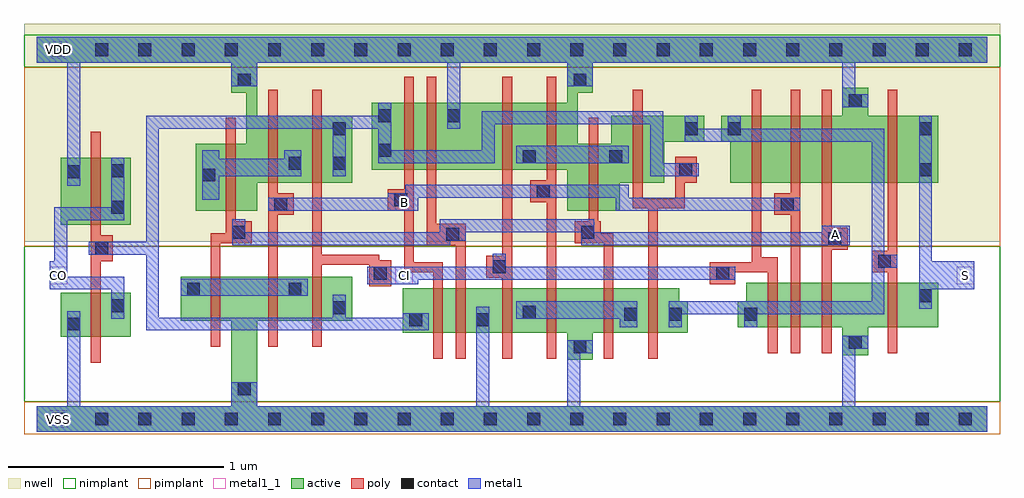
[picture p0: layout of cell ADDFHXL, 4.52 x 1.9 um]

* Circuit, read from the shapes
.subckt ADDFHXL A B CI CO S VDD VSS
M1 CO n1 VSS VSS nfet w=0.205u l=0.045u
M2 VSS A n2 VSS nfet w=0.205u l=0.045u
M3 n2 B VSS VSS nfet w=0.205u l=0.045u
M4 n1 CI n2 VSS nfet w=0.205u l=0.045u
M5 n3 B n1 VSS nfet w=0.205u l=0.045u
M6 VSS A n3 VSS nfet w=0.205u l=0.045u
M7 n4 CI VSS VSS nfet w=0.205u l=0.045u
M8 VSS B n4 VSS nfet w=0.205u l=0.045u
M9 n4 A VSS VSS nfet w=0.205u l=0.045u
M10 n5 n1 n4 VSS nfet w=0.205u l=0.045u
M11 n6 CI n5 VSS nfet w=0.205u l=0.045u
M12 n7 B n6 VSS nfet w=0.205u l=0.045u
M13 VSS A n7 VSS nfet w=0.205u l=0.045u
M14 S n5 VSS VSS nfet w=0.205u l=0.045u
M15 CO n1 VDD VDD pfet w=0.31u l=0.045u
M16 VDD A n8 VDD pfet w=0.31u l=0.045u
M17 n8 B VDD VDD pfet w=0.31u l=0.045u
M18 n1 CI n8 VDD pfet w=0.31u l=0.045u
M19 n9 B n1 VDD pfet w=0.31u l=0.045u
M20 VDD A n9 VDD pfet w=0.31u l=0.045u
M21 n10 CI VDD VDD pfet w=0.31u l=0.045u
M22 VDD B n10 VDD pfet w=0.31u l=0.045u
M23 n10 A VDD VDD pfet w=0.31u l=0.045u
M24 n5 n1 n10 VDD pfet w=0.31u l=0.045u
M25 n11 CI n5 VDD pfet w=0.31u l=0.045u
M26 n12 B n11 VDD pfet w=0.31u l=0.045u
M27 VDD A n12 VDD pfet w=0.31u l=0.045u
M28 S n5 VDD VDD pfet w=0.31u l=0.045u
.ends

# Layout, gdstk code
import gdstk
lib = gdstk.Library(unit=1e-6, precision=5e-10)
def R(c, l, rs):  # rectangles x0, y0, x1, y1
    for r in rs: c.add(gdstk.rectangle(r[:2], r[2:], *l))
def A(c, l, x, y, w, h, nx, ny, dx, dy):  # array of equal rectangles
    R(c, l, [(x+i*dx, y+j*dy, x+i*dx+w, y+j*dy+h) for i in range(nx) for j in range(ny)])
def P(c, l, *ps):  # polygons
    for p in ps: c.add(gdstk.Polygon(p, *l))
active = (1, 0)
nwell = (2, 0)
poly = (3, 0)
nimplant = (4, 0)
pimplant = (5, 0)
contact = (6, 0)
metal1 = (7, 0)
metal1_1 = (7, 1)

addfhxl = lib.new_cell('ADDFHXL')
R(addfhxl, active, [(0.11,0.38,0.435,0.585), (0.11,0.9,0.435,1.21)])
P(addfhxl, active, [(0,1.77),(4.4,1.77),(4.4,1.65),(2.575,1.65),(2.575,1.51),(2.505,1.51),(2.505,1.275),(2.66,1.275),(2.66,1.405),(3.09,1.405),(3.09,1.285),(2.905,1.285),(2.905,1.095),(2.7,1.095),(2.7,0.965),(2.455,0.965),(2.455,1.155),(1.55,1.155),(1.55,1.465),(2.455,1.465),(2.455,1.65),(1.02,1.65),(1.02,1.405),(1.46,1.405),(1.46,1.095),(1.02,1.095),(1.02,0.965),(0.735,0.965),(0.735,1.275),(0.97,1.275),(0.97,1.51),(0.9,1.51),(0.9,1.65),(0,1.65)],
  [(3.73,1.535),(3.85,1.535),(3.85,1.405),(4.175,1.405),(4.175,1.095),(3.21,1.095),(3.21,1.285),(3.17,1.285),(3.17,1.405),(3.73,1.405)],
  [(0.665,0.66),(1.46,0.66),(1.46,0.455),(1.02,0.455),(1.02,0.06),(4.4,0.06),(4.4,-0.06),(0,-0.06),(0,0.06),(0.9,0.06),(0.9,0.455),(0.665,0.455)],
  [(1.695,0.605),(2.975,0.605),(2.975,0.545),(3.015,0.545),(3.015,0.4),(2.575,0.4),(2.575,0.275),(2.455,0.275),(2.455,0.4),(1.695,0.4)],
  [(3.285,0.63),(4.175,0.63),(4.175,0.425),(3.85,0.425),(3.85,0.295),(3.73,0.295),(3.73,0.425),(3.245,0.425),(3.245,0.545),(3.285,0.545)])
R(addfhxl, nwell, [(-0.06,0.82,4.46,1.83)])
P(addfhxl, poly, [(0.25,1.33),(0.295,1.33),(0.295,0.85),(0.35,0.85),(0.35,0.73),(0.295,0.73),(0.295,0.26),(0.25,0.26)],
  [(1.7,1.585),(1.745,1.585),(1.745,0.725),(1.88,0.725),(1.88,0.28),(1.835,0.28),(1.835,0.68),(1.7,0.68),(1.7,0.965),(1.625,0.965),(1.625,1.065),(1.7,1.065)],
  [(1.805,1.585),(1.85,1.585),(1.85,0.905),(1.985,0.905),(1.985,0.28),(1.94,0.28),(1.94,0.805),(1.805,0.805)],
  [(0.875,1.395),(0.92,1.395),(0.92,0.915),(0.995,0.915),(0.995,0.815),(0.85,0.815),(0.85,0.335),(0.805,0.335),(0.805,0.86),(0.875,0.86)],
  [(1.07,1.525),(1.115,1.525),(1.115,1.045),(1.19,1.045),(1.19,0.945),(1.115,0.945),(1.115,0.335),(1.07,0.335)],
  [(1.275,1.525),(1.32,1.525),(1.32,0.76),(1.585,0.76),(1.585,0.735),(1.64,0.735),(1.64,0.615),(1.54,0.615),(1.54,0.715),(1.32,0.715),(1.32,0.335),(1.275,0.335)],
  [(2.155,1.585),(2.2,1.585),(2.2,0.28),(2.155,0.28),(2.155,0.655),(2.08,0.655),(2.08,0.755),(2.155,0.755)],
  [(2.36,1.585),(2.405,1.585),(2.405,0.28),(2.36,0.28),(2.36,1.005),(2.285,1.005),(2.285,1.105),(2.36,1.105)],
  [(2.76,1.525),(2.805,1.525),(2.805,1.02),(2.955,1.02),(2.955,1.215),(3.055,1.215),(3.055,1.095),(3,1.095),(3,0.975),(2.875,0.975),(2.875,0.28),(2.83,0.28),(2.83,0.975),(2.76,0.975)],
  [(3.31,1.525),(3.355,1.525),(3.355,0.75),(3.43,0.75),(3.43,0.305),(3.385,0.305),(3.385,0.68),(3.235,0.68),(3.235,0.625),(3.115,0.625),(3.115,0.725),(3.31,0.725)],
  [(3.49,1.525),(3.535,1.525),(3.535,0.305),(3.49,0.305),(3.49,0.945),(3.415,0.945),(3.415,1.045),(3.49,1.045)],
  [(3.635,1.525),(3.68,1.525),(3.68,0.885),(3.755,0.885),(3.755,0.785),(3.68,0.785),(3.68,0.305),(3.635,0.305)],
  [(3.94,1.525),(3.985,1.525),(3.985,0.305),(3.94,0.305),(3.94,0.68),(3.865,0.68),(3.865,0.78),(3.94,0.78)],
  [(2.555,1.395),(2.6,1.395),(2.6,0.915),(2.61,0.915),(2.61,0.86),(2.67,0.86),(2.67,0.28),(2.625,0.28),(2.625,0.815),(2.49,0.815),(2.49,0.915),(2.555,0.915)])
R(addfhxl, nimplant, [(-0.06,0.08,4.46,0.8), (-0.06,1.63,4.46,1.78)])
R(addfhxl, pimplant, [(-0.06,-0.07,4.46,0.08), (-0.06,0.8,4.46,1.63)])
A(addfhxl, contact, 0.07, -0.03, 0.06, 0.06, 22, 2, 0.2, 1.71)
R(addfhxl, contact, [(0.93,0.11,0.99,0.17), (2.485,0.305,2.545,0.365), (3.76,0.325,3.82,0.385), (0.14,0.41,0.2,0.47), (1.725,0.43,1.785,0.49), (2.035,0.43,2.095,0.49), (2.72,0.455,2.78,0.515), (2.925,0.455,2.985,0.515), (3.275,0.455,3.335,0.515), (2.25,0.465,2.31,0.525), (1.37,0.485,1.43,0.545), (0.345,0.495,0.405,0.555), (4.085,0.54,4.145,0.6), (0.695,0.57,0.755,0.63), (1.165,0.57,1.225,0.63), (1.56,0.645,1.62,0.705), (3.145,0.645,3.205,0.705), (2.11,0.675,2.17,0.735), (3.895,0.7,3.955,0.76), (0.27,0.76,0.33,0.82), (3.665,0.805,3.725,0.865), (1.895,0.825,1.955,0.885), (0.905,0.835,0.965,0.895), (2.52,0.835,2.58,0.895), (0.345,0.95,0.405,1.01), (1.1,0.965,1.16,1.025), (3.445,0.965,3.505,1.025), (1.655,0.985,1.715,1.045), (2.315,1.025,2.375,1.085), (0.765,1.1,0.825,1.16), (0.14,1.115,0.2,1.175), (0.345,1.12,0.405,1.18), (2.975,1.125,3.035,1.185), (4.085,1.125,4.145,1.185), (1.165,1.155,1.225,1.215), (1.37,1.155,1.43,1.215), (2.25,1.185,2.31,1.245), (2.65,1.185,2.71,1.245), (1.58,1.215,1.64,1.275), (1.37,1.315,1.43,1.375), (3,1.315,3.06,1.375), (3.2,1.315,3.26,1.375), (4.085,1.315,4.145,1.375), (1.58,1.375,1.64,1.435), (1.9,1.375,1.96,1.435), (3.76,1.445,3.82,1.505), (0.93,1.54,0.99,1.6), (2.485,1.54,2.545,1.6)])
R(addfhxl, metal1, [(0.665,0.57,1.255,0.65), (2.22,1.185,2.74,1.265)])
P(addfhxl, metal1, [(0,1.77),(4.4,1.77),(4.4,1.65),(3.79,1.65),(3.79,1.505),(3.85,1.505),(3.85,1.445),(3.73,1.445),(3.73,1.65),(2.575,1.65),(2.575,1.54),(2.455,1.54),(2.455,1.65),(1.96,1.65),(1.96,1.345),(1.9,1.345),(1.9,1.65),(1.02,1.65),(1.02,1.54),(0.9,1.54),(0.9,1.65),(0.2,1.65),(0.2,1.08),(0.14,1.08),(0.14,1.65),(0,1.65)],
  [(1.58,1.465),(1.64,1.465),(1.64,1.245),(2.06,1.245),(2.06,1.425),(2.9,1.425),(2.9,1.185),(3.065,1.185),(3.065,1.125),(2.84,1.125),(2.84,1.365),(2.12,1.365),(2.12,1.185),(1.58,1.185),(1.58,1.345),(1.43,1.345),(1.43,1.125),(1.37,1.125),(1.37,1.345),(0.565,1.345),(0.565,0.47),(1.37,0.47),(1.37,0.575),(1.43,0.575),(1.43,0.47),(1.695,0.47),(1.695,0.49),(1.815,0.49),(1.815,0.41),(0.505,0.41),(0.505,0.76),(0.24,0.76),(0.24,0.82),(0.505,0.82),(0.505,1.405),(1.58,1.405)],
  [(0.345,1.21),(0.405,1.21),(0.405,0.92),(0.14,0.92),(0.14,0.66),(0.405,0.66),(0.405,0.465),(0.345,0.465),(0.345,0.6),(0.06,0.6),(0.06,0.73),(0.08,0.73),(0.08,0.98),(0.345,0.98)],
  [(0.765,1.245),(0.845,1.245),(0.845,1.205),(1.145,1.205),(1.145,1.245),(1.225,1.245),(1.225,1.125),(0.845,1.125),(0.845,1.015),(0.765,1.015)],
  [(3,1.405),(3.06,1.405),(3.06,1.345),(3.2,1.345),(3.2,1.405),(3.26,1.405),(3.26,1.345),(3.925,1.345),(3.925,0.76),(3.985,0.76),(3.985,0.7),(3.925,0.7),(3.925,0.485),(3.335,0.485),(3.335,0.425),(3.275,0.425),(3.275,0.485),(2.985,0.485),(2.985,0.425),(2.925,0.425),(2.925,0.545),(3.865,0.545),(3.865,1.285),(3,1.285)],
  [(4.085,1.405),(4.145,1.405),(4.145,0.73),(4.34,0.73),(4.34,0.6),(4.145,0.6),(4.145,0.51),(4.085,0.51)],
  [(1.705,1.085),(2.74,1.085),(2.74,1.025),(3.535,1.025),(3.535,0.965),(2.68,0.965),(2.68,1.025),(1.765,1.025),(1.765,0.965),(1.07,0.965),(1.07,1.025),(1.625,1.025),(1.625,1.045),(1.705,1.045)],
  [(0.14,0.5),(0.2,0.5),(0.2,0.06),(0.9,0.06),(0.9,0.17),(1.02,0.17),(1.02,0.06),(2.035,0.06),(2.035,0.52),(2.095,0.52),(2.095,0.06),(2.455,0.06),(2.455,0.365),(2.575,0.365),(2.575,0.305),(2.515,0.305),(2.515,0.06),(3.73,0.06),(3.73,0.385),(3.85,0.385),(3.85,0.325),(3.79,0.325),(3.79,0.06),(4.4,0.06),(4.4,-0.06),(0,-0.06),(0,0.06),(0.14,0.06)],
  [(0.905,0.925),(0.965,0.925),(0.965,0.865),(1.865,0.865),(1.865,0.925),(2.58,0.925),(2.58,0.865),(3.635,0.865),(3.635,0.895),(3.765,0.895),(3.765,0.805),(2.52,0.805),(2.52,0.865),(1.985,0.865),(1.985,0.825),(1.915,0.825),(1.915,0.805),(0.905,0.805)],
  [(2.11,0.765),(2.17,0.765),(2.17,0.705),(3.235,0.705),(3.235,0.645),(1.765,0.645),(1.765,0.625),(1.53,0.625),(1.53,0.705),(2.11,0.705)],
  [(2.22,0.545),(2.78,0.545),(2.78,0.425),(2.7,0.425),(2.7,0.465),(2.22,0.465)])
R(addfhxl, metal1_1, [(0.06,-0.04,0.14,0.04), (0.06,0.625,0.14,0.705), (1.66,0.625,1.74,0.705), (4.26,0.625,4.34,0.705), (3.66,0.815,3.74,0.895), (1.66,0.965,1.74,1.045), (0.06,1.67,0.14,1.75)])
addfhxl.add(gdstk.Label('S', (4.3,0.665), layer=7, texttype=1))
addfhxl.add(gdstk.Label('CO', (0.1,0.665), layer=7, texttype=1))
addfhxl.add(gdstk.Label('B', (1.7,1.005), layer=7, texttype=1))
addfhxl.add(gdstk.Label('A', (3.7,0.855), layer=7, texttype=1))
addfhxl.add(gdstk.Label('CI', (1.7,0.665), layer=7, texttype=1))
addfhxl.add(gdstk.Label('VDD', (0.1,1.71), layer=7, texttype=1))
addfhxl.add(gdstk.Label('VSS', (0.1,0), layer=7, texttype=1))
addfhxl.add(gdstk.Label('ADDFHXL', (0,0), layer=63, texttype=0))

lib.write_gds('ADDFHXL.gds')
